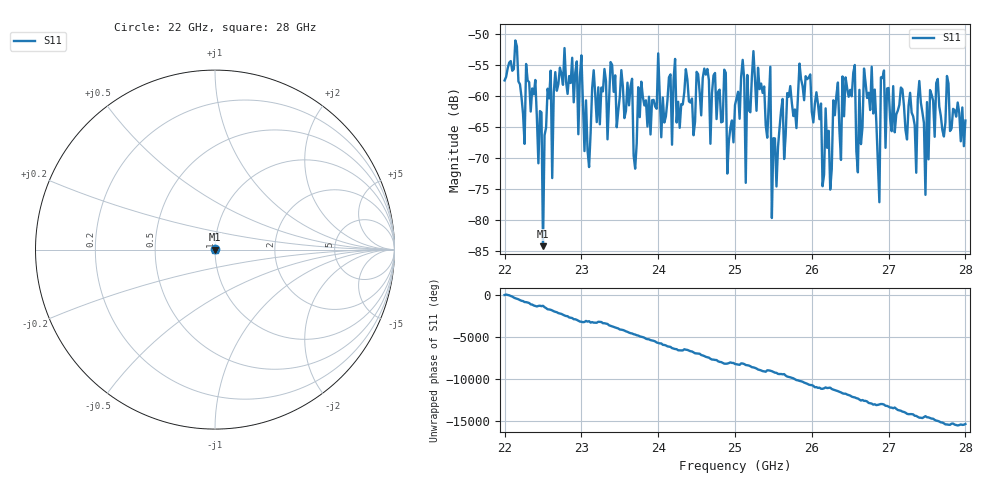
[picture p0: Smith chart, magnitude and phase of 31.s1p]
#  HZ  S  RI  R  50.00
! Rohde & Schwarz ZVA40 4Ports - Version 3.90 - 1145.1110k42 SN: 100403
! Date: 2023-10-04 06:55:14
! Measurement: S12
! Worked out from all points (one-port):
!   301 points, 22 GHz to 28 GHz, reference 50 ohm
!   lowest |S11| = -84.2 dB at 22.5 GHz (marker M1), VSWR 1.00, Z = 50 + j0.000376 ohm
!   |S11| at or under -10 dB: start of sweep to end of sweep
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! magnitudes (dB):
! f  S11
! 22 GHz  -57.5
! 22.4 GHz  -57.4
! 22.48 GHz  -62.7
! 22.5 GHz  -84.2
! 22.56 GHz  -58.8
! 22.62 GHz  -73.2
! 22.76 GHz  -58.2
! 23.5 GHz  -60.1
! 24.26 GHz  -60.9
! 25 GHz  -61.5
! 25.1 GHz  -54.2
! 25.14 GHz  -74.0
! 25.16 GHz  -56.6
! 25.46 GHz  -55.3
! 25.48 GHz  -79.7
! 25.76 GHz  -63.2
! 26.24 GHz  -75.1
! 26.5 GHz  -59.0
! 26.6 GHz  -72.3
! 26.78 GHz  -55.3
! 26.88 GHz  -77.1
! 26.9 GHz  -57.0
! 27.26 GHz  -61.6
! 27.36 GHz  -72.4
! 27.4 GHz  -57.6
! 27.48 GHz  -75.9
! 27.54 GHz  -59.1
! 28 GHz  -64.0
